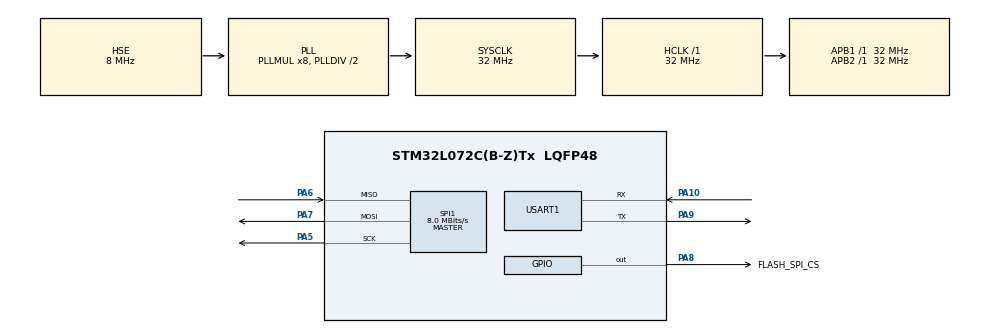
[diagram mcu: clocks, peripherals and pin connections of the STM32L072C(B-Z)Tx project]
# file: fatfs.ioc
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FATFS._CODE_PAGE=737
FATFS._MAX_SS=4096
FATFS._MIN_SS=512
FATFS._USE_LFN=2
Mcu.Family=STM32L0
Mcu.Name=STM32L072C(B-Z)Tx
Mcu.Package=LQFP48
PA10.Mode=Asynchronous
PA10.Signal=USART1_RX
PA13.Mode=Serial_Wire
PA13.Signal=SYS_SWDIO
PA14.Mode=Serial_Wire
PA14.Signal=SYS_SWCLK
PA5.Mode=Full_Duplex_Master
PA5.Signal=SPI1_SCK
PA6.Mode=Full_Duplex_Master
PA6.Signal=SPI1_MISO
PA7.Mode=Full_Duplex_Master
PA7.Signal=SPI1_MOSI
PA8.GPIO_Label=FLASH_SPI_CS
PA8.GPIO_PuPd=GPIO_PULLUP
PA8.PinState=GPIO_PIN_SET
PA8.Signal=GPIO_Output
PA9.Mode=Asynchronous
PA9.Signal=USART1_TX
PH0-OSC_IN.Mode=HSE-External-Oscillator
PH0-OSC_IN.Signal=RCC_OSC_IN
PH1-OSC_OUT.Mode=HSE-External-Oscillator
PH1-OSC_OUT.Signal=RCC_OSC_OUT
ProjectManager.HeapSize=0x200
ProjectManager.StackSize=0x1000
ProjectManager.TargetToolchain=MDK-ARM V5
RCC.AHBFreq_Value=32000000
RCC.APB1Freq_Value=32000000
RCC.APB1TimFreq_Value=32000000
RCC.APB2Freq_Value=32000000
RCC.APB2TimFreq_Value=32000000
RCC.HCLKFreq_Value=32000000
RCC.HSE_VALUE=8000000
RCC.HSI16_VALUE=16000000
RCC.HSI48_VALUE=48000000
RCC.HSI_VALUE=16000000
RCC.LSE_VALUE=32768
RCC.MSI_VALUE=2097000
RCC.PLLMUL=RCC_PLLMUL_8
RCC.PLLSourceVirtual=RCC_PLLSOURCE_HSE
RCC.SYSCLKFreq_VALUE=32000000
RCC.SYSCLKSource=RCC_SYSCLKSOURCE_PLLCLK
RCC.VCOOutputFreq_Value=64000000
SPI1.BaudRatePrescaler=SPI_BAUDRATEPRESCALER_4
SPI1.CalculateBaudRate=8.0 MBits/s
SPI1.Direction=SPI_DIRECTION_2LINES
SPI1.Mode=SPI_MODE_MASTER
SPI1.VirtualType=VM_MASTER
USART1.VirtualMode-Asynchronous=VM_ASYNC
USART1.WordLength=WORDLENGTH_8B
VP_FATFS_VS_Generic.Mode=User_defined
board=fatfs

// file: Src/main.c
/**
  ******************************************************************************
  * @file           : main.c
  * @brief          : Main program body
  ******************************************************************************
  * This notice applies to any and all portions of this file
  * that are not between comment pairs USER CODE BEGIN and
  * USER CODE END. Other portions of this file, whether
  * inserted by the user or by software development tools
  * are owned by their respective copyright owners.
  *
  * Copyright (c) 2018 STMicroelectronics International N.V.
  * All rights reserved.
  *
  * Redistribution and use in source and binary forms, with or without
  * modification, are permitted, provided that the following conditions are met:
  *
  * 1. Redistribution of source code must retain the above copyright notice,
  *    this list of conditions and the following disclaimer.
  * 2. Redistributions in binary form must reproduce the above copyright notice,
  *    this list of conditions and the following disclaimer in the documentation
  *    and/or other materials provided with the distribution.
  * 3. Neither the name of STMicroelectronics nor the names of other
  *    contributors to this software may be used to endorse or promote products
  *    derived from this software without specific written permission.
  * 4. This software, including modifications and/or derivative works of this
  *    software, must execute solely and exclusively on microcontroller or
  *    microprocessor devices manufactured by or for STMicroelectronics.
  * 5. Redistribution and use of this software other than as permitted under
  *    this license is void and will automatically terminate your rights under
  *    this license.
  *
  * THIS SOFTWARE IS PROVIDED BY STMICROELECTRONICS AND CONTRIBUTORS "AS IS"
  * AND ANY EXPRESS, IMPLIED OR STATUTORY WARRANTIES, INCLUDING, BUT NOT
  * LIMITED TO, THE IMPLIED WARRANTIES OF MERCHANTABILITY, FITNESS FOR A
  * PARTICULAR PURPOSE AND NON-INFRINGEMENT OF THIRD PARTY INTELLECTUAL PROPERTY
  * RIGHTS ARE DISCLAIMED TO THE FULLEST EXTENT PERMITTED BY LAW. IN NO EVENT
  * SHALL STMICROELECTRONICS OR CONTRIBUTORS BE LIABLE FOR ANY DIRECT, INDIRECT,
  * INCIDENTAL, SPECIAL, EXEMPLARY, OR CONSEQUENTIAL DAMAGES (INCLUDING, BUT NOT
  * LIMITED TO, PROCUREMENT OF SUBSTITUTE GOODS OR SERVICES; LOSS OF USE, DATA,
  * OR PROFITS; OR BUSINESS INTERRUPTION) HOWEVER CAUSED AND ON ANY THEORY OF
  * LIABILITY, WHETHER IN CONTRACT, STRICT LIABILITY, OR TORT (INCLUDING
  * NEGLIGENCE OR OTHERWISE) ARISING IN ANY WAY OUT OF THE USE OF THIS SOFTWARE,
  * EVEN IF ADVISED OF THE POSSIBILITY OF SUCH DAMAGE.
  *
  ******************************************************************************
  */
#include "main.h"
#include "stm32l0xx_hal.h"
#include "fatfs.h"
#include "spi.h"
#include "usart.h"
#include "gpio.h"

/* USER CODE BEGIN PV */
/* Private variables ---------------------------------------------------------*/
#ifdef __GNUC__
  /* With GCC/RAISONANCE, small printf (option LD Linker->Libraries->Small printf
     set to 'Yes') calls __io_putchar() */
  #define PUTCHAR_PROTOTYPE int __io_putchar(int ch)
#else
  #define PUTCHAR_PROTOTYPE int fputc(int ch, FILE *f)
#endif /* __GNUC__ */

 /**
  * @brief  Retargets the C library printf function to the USART.
  * @param  None
  * @retval None
  */
PUTCHAR_PROTOTYPE
{
  /* Place your implementation of fputc here */
  /* e.g. write a character to the USART */
  HAL_UART_Transmit(&huart1, (uint8_t *)&ch, 1, 0xFFFF);  ///不需要库原因：从速度考虑直接使用寄存器更好
	return ch;
}

/* USER CODE END PV */

void SystemClock_Config(void);

/* USER CODE BEGIN PFP */
/* Private function prototypes -----------------------------------------------*/

/* USER CODE END PFP */

/* USER CODE BEGIN 0 */

FATFS fs;													/* FatFs文件系统对象 */
FIL file;													/* 文件对象 */
FRESULT f_res;                    /* 文件操作结果 */

char SPIFLASHPath[4];             /* 串行Flash逻辑设备路径 */

static void printf_fatfs_error(FRESULT fresult);

void FatfsMount(void);

void FatfsWrite(void);

void FatfsRead();

BYTE ReadBuffer[512]={0};        /* 读缓冲区 */
BYTE WriteBuffer[]= "Helloworld,欢迎使用Fatfs文件系统 \r\n";/* 写缓冲区*/

uint32_t fnum;            					  /* 文件成功读写数量 */

uint32_t ReadIndex = 0;

/* USER CODE END 0 */

int main(void)
{

  /* MCU Configuration----------------------------------------------------------*/

  /* Reset of all peripherals, Initializes the Flash interface and the Systick. */
  HAL_Init();

  /* Configure the system clock */
  SystemClock_Config();

  /* Initialize all configured peripherals */
  MX_GPIO_Init();
  MX_SPI1_Init();
  MX_FATFS_Init();
  MX_USART1_UART_Init();
  /* USER CODE BEGIN 2 */
	printf("helloworld...\r\n");

	FatfsMount(  );

  /* 注销一个FatFS设备：串行FLASH */
//  FATFS_UnLinkDriver(SPIFLASHPath);
  /* USER CODE END 2 */

  /* Infinite loop */
  while (1)
  {

  /* USER CODE BEGIN 3 */

		FatfsWrite(  );
		HAL_Delay(3000);

		FatfsRead(  );
		HAL_Delay(3000);

  }
  /* USER CODE END 3 */

}

void SystemClock_Config(void)
{

  RCC_OscInitTypeDef RCC_OscInitStruct;
  RCC_ClkInitTypeDef RCC_ClkInitStruct;
  RCC_PeriphCLKInitTypeDef PeriphClkInit;

    /**Configure the main internal regulator output voltage
    */
  __HAL_PWR_VOLTAGESCALING_CONFIG(PWR_REGULATOR_VOLTAGE_SCALE1);

    /**Initializes the CPU, AHB and APB busses clocks
    */
  RCC_OscInitStruct.OscillatorType = RCC_OSCILLATORTYPE_HSE;
  RCC_OscInitStruct.HSEState = RCC_HSE_ON;
  RCC_OscInitStruct.PLL.PLLState = RCC_PLL_ON;
  RCC_OscInitStruct.PLL.PLLSource = RCC_PLLSOURCE_HSE;
  RCC_OscInitStruct.PLL.PLLMUL = RCC_PLLMUL_8;
  RCC_OscInitStruct.PLL.PLLDIV = RCC_PLLDIV_2;
  if (HAL_RCC_OscConfig(&RCC_OscInitStruct) != HAL_OK)
  {
    _Error_Handler(__FILE__, __LINE__);
  }

    /**Initializes the CPU, AHB and APB busses clocks
    */
  RCC_ClkInitStruct.ClockType = RCC_CLOCKTYPE_HCLK|RCC_CLOCKTYPE_SYSCLK
                              |RCC_CLOCKTYPE_PCLK1|RCC_CLOCKTYPE_PCLK2;
  RCC_ClkInitStruct.SYSCLKSource = RCC_SYSCLKSOURCE_PLLCLK;
  RCC_ClkInitStruct.AHBCLKDivider = RCC_SYSCLK_DIV1;
  RCC_ClkInitStruct.APB1CLKDivider = RCC_HCLK_DIV1;
  RCC_ClkInitStruct.APB2CLKDivider = RCC_HCLK_DIV1;

  if (HAL_RCC_ClockConfig(&RCC_ClkInitStruct, FLASH_LATENCY_1) != HAL_OK)
  {
    _Error_Handler(__FILE__, __LINE__);
  }

  PeriphClkInit.PeriphClockSelection = RCC_PERIPHCLK_USART1;
  PeriphClkInit.Usart1ClockSelection = RCC_USART1CLKSOURCE_PCLK2;
  if (HAL_RCCEx_PeriphCLKConfig(&PeriphClkInit) != HAL_OK)
  {
    _Error_Handler(__FILE__, __LINE__);
  }

    /**Configure the Systick interrupt time
    */
  HAL_SYSTICK_Config(HAL_RCC_GetHCLKFreq()/1000);

    /**Configure the Systick
    */
  HAL_SYSTICK_CLKSourceConfig(SYSTICK_CLKSOURCE_HCLK);

  /* SysTick_IRQn interrupt configuration */
  HAL_NVIC_SetPriority(SysTick_IRQn, 0, 0);
}

/* USER CODE BEGIN 4 */

void FatfsMount(void)
{
		 /* 注册一个FatFS设备：串行FLASH */
  if(FATFS_LinkDriver(&USER_Driver, SPIFLASHPath) == 0)
  {
    //在串行FLASH挂载文件系统，文件系统挂载时会对串行FLASH初始化
    f_res = f_mount(&fs,(TCHAR const*)SPIFLASHPath,1);
    printf_fatfs_error(f_res);
    /*----------------------- 格式化测试 ---------------------------*/
    /* 如果没有文件系统就格式化创建创建文件系统 */
    if(f_res == FR_NO_FILESYSTEM)
    {
      printf("》串行FLASH还没有文件系统，即将进行格式化...\r\n");
      /* 格式化 */
      f_res=f_mkfs((TCHAR const*)SPIFLASHPath,0,0);

      if(f_res == FR_OK)
      {
        printf("》串行FLASH已成功格式化文件系统。\r\n");
        /* 格式化后，先取消挂载 */
        f_res = f_mount(NULL,(TCHAR const*)SPIFLASHPath,1);
        /* 重新挂载	*/
        f_res = f_mount(&fs,(TCHAR const*)SPIFLASHPath,1);
      }
      else
      {
        printf("《《格式化失败。》》\n");
        while(1);
      }
    }
    else if(f_res!=FR_OK)
    {
      printf("！！串行FLASH挂载文件系统失败。(%d)\r\n",f_res);
      printf_fatfs_error(f_res);
      while(1);
    }
    else
    {
      printf("》文件系统挂载成功，可以进行读写测试\r\n");
    }
	}
}

void FatfsWrite(void)
{
 /*----------------------- 文件系统测试：写测试 -----------------------------*/
	/* 打开文件，如果文件不存在则创建它 */
	printf("****** 即将进行文件写入测试... ******\r\n");

	f_res = f_open(&file, "1234.txt",FA_CREATE_ALWAYS | FA_WRITE );
	if ( f_res == FR_OK )
	{
		for(uint16_t i = 0; i < 200; ++i)
		{
			printf("》打开/创建FatFs读写测试文件.txt文件成功，向文件写入数据。f_size = %ld\r\n",f_size(&file));
			/* 将指定存储区内容写入到文件内 */

			f_lseek(&file, f_size(&file));
			f_res=f_write(&file,WriteBuffer,sizeof(WriteBuffer),&fnum);
			if(f_res==FR_OK)
			{
				printf("》文件写入成功，写入字节数据：%d\r\n",fnum);
				printf("》向文件写入的数据为：\n%s\r\n",WriteBuffer);
			}
			else
			{
				printf("！！文件写入失败：(%d)\r\n",f_res);
			}
		}
		/* 不再读写，关闭文件 */
		f_close(&file);
	}
	else
	{
		printf("！！打开/创建文件失败。\r\n");
	}
}

void FatfsRead()
{
	f_res = f_open(&file, "1234.txt", FA_OPEN_EXISTING | FA_READ);

	printf("》读到总字节数据：%ld\r\n",f_size(&file));
	if(f_res == FR_OK)
	{
		printf("》打开文件成功。\n");

		while(ReadIndex != f_size(&file))
		{
			f_lseek(&file, ReadIndex);

			f_res = f_read(&file, ReadBuffer, sizeof(ReadBuffer), &fnum);
			if(f_res==FR_OK)
			{
				printf("》文件读取成功,读到字节数据：%d\r\n",fnum);
				printf("》读取得的文件数据为：\n%s \r\n", ReadBuffer);
				ReadIndex += 36;

				printf("读到字节数据：%d\r\n",ReadIndex);
			}
			else
			{
				printf("！！文件读取失败：(%d)\r\n",f_res);
			}
		}
	}
	else
	{
		printf("！！打开文件失败。\r\n");
	}
	/* 不再读写，关闭文件 */
	f_close(&file);

	/* 不再使用，取消挂载 */
//	f_res = f_mount(NULL,(TCHAR const*)SPIFLASHPath,1);
}

/**
  * 函数功能: FatFS文件系统操作结果信息处理.
  * 输入参数: FatFS文件系统操作结果：FRESULT
  * 返 回 值: 无
  * 说    明: 无
  */
static void printf_fatfs_error(FRESULT fresult)
{
  switch(fresult)
  {
    case FR_OK:                   //(0)
      printf("》操作成功。\r\n");
    break;
    case FR_DISK_ERR:             //(1)
      printf("！！硬件输入输出驱动出错。\r\n");
    break;
    case FR_INT_ERR:              //(2)
      printf("！！断言错误。\r\n");
    break;
    case FR_NOT_READY:            //(3)
      printf("！！物理设备无法工作。\r\n");
    break;
    case FR_NO_FILE:              //(4)
      printf("！！无法找到文件。\r\n");
    break;
    case FR_NO_PATH:              //(5)
      printf("！！无法找到路径。\r\n");
    break;
    case FR_INVALID_NAME:         //(6)
      printf("！！无效的路径名。\r\n");
    break;
    case FR_DENIED:               //(7)
    case FR_EXIST:                //(8)
      printf("！！拒绝访问。\r\n");
    break;
    case FR_INVALID_OBJECT:       //(9)
      printf("！！无效的文件或路径。\r\n");
    break;
    case FR_WRITE_PROTECTED:      //(10)
      printf("！！逻辑设备写保护。\r\n");
    break;
    case FR_INVALID_DRIVE:        //(11)
      printf("！！无效的逻辑设备。\r\n");
    break;
    case FR_NOT_ENABLED:          //(12)
      printf("！！无效的工作区。\r\n");
    break;
    case FR_NO_FILESYSTEM:        //(13)
      printf("！！无效的文件系统。\r\n");
    break;
    case FR_MKFS_ABORTED:         //(14)
      printf("！！因函数参数问题导致f_mkfs函数操作失败。\r\n");
    break;
    case FR_TIMEOUT:              //(15)
      printf("！！操作超时。\r\n");
    break;
    case FR_LOCKED:               //(16)
      printf("！！文件被保护。\r\n");
    break;
    case FR_NOT_ENOUGH_CORE:      //(17)
      printf("！！长文件名支持获取堆空间失败。\r\n");
    break;
    case FR_TOO_MANY_OPEN_FILES:  //(18)
      printf("！！打开太多文件。\r\n");
    break;
    case FR_INVALID_PARAMETER:    // (19)
      printf("！！参数无效。\r\n");
    break;
  }
}

/* USER CODE END 4 */

void _Error_Handler(char *file, int line)
{
  while(1)
  {
  }
}

/************************ (C) COPYRIGHT STMicroelectronics *****END OF FILE****/
